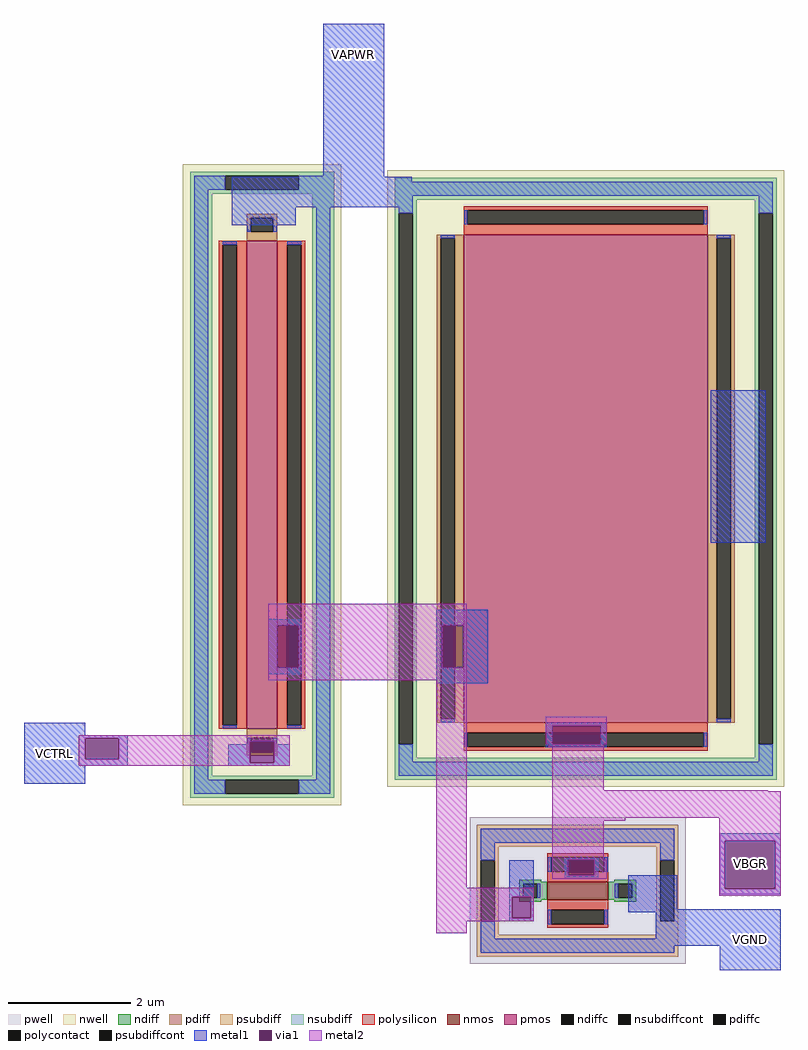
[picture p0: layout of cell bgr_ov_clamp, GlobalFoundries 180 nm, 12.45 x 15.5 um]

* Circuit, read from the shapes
.subckt bgr_ov_clamp VAPWR VBGR VCTRL VGND
XM1 VGND VBGR n1 VGND nfet_03v3 w=0.3u l=1u
XM2 VAPWR n1 VCTRL VAPWR pfet_03v3 w=0.5u l=8u
XM3 VAPWR VBGR n1 VAPWR pfet_03v3 w=8u l=4u
.ends

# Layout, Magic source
magic
tech gf180mcuD
magscale 1 10
<< metal1 >>
rect 600 700 800 1200
rect 300 600 890 700
rect 300 540 510 600
rect 1870 -500 2050 0
rect 420 -770 530 -750
rect 420 -910 450 -770
rect 520 -910 530 -770
rect 420 -930 530 -910
rect 970 -770 1140 -720
rect 970 -910 990 -770
rect 1060 -910 1140 -770
rect 970 -960 1140 -910
rect -380 -1130 -180 -1090
rect 1330 -1100 1530 -1090
rect -380 -1140 -40 -1130
rect -380 -1210 -180 -1140
rect -70 -1210 -40 -1140
rect -380 -1230 -40 -1210
rect 290 -1220 360 -1160
rect 1330 -1160 1350 -1100
rect 1510 -1160 1530 -1100
rect 440 -1220 490 -1160
rect 1330 -1170 1530 -1160
rect 290 -1230 490 -1220
rect -380 -1290 -180 -1230
rect 1899 -1476 2099 -1452
rect 1391 -1538 1501 -1532
rect 1210 -1660 1290 -1540
rect 1391 -1590 1403 -1538
rect 1489 -1590 1501 -1538
rect 1391 -1596 1501 -1590
rect 1210 -1730 1220 -1660
rect 1280 -1730 1290 -1660
rect 1600 -1700 1760 -1590
rect 1899 -1634 1916 -1476
rect 2082 -1634 2099 -1476
rect 1899 -1652 2099 -1634
rect 1600 -1710 2100 -1700
rect 1210 -1740 1290 -1730
rect 1690 -1820 2100 -1710
rect 1900 -1900 2100 -1820
<< via1 >>
rect 450 -910 520 -770
rect 990 -910 1060 -770
rect -180 -1210 -70 -1140
rect 360 -1220 440 -1150
rect 1350 -1160 1510 -1100
rect 1403 -1590 1489 -1538
rect 1220 -1730 1280 -1660
rect 1916 -1634 2082 -1476
<< metal2 >>
rect 420 -770 1070 -700
rect 420 -910 450 -770
rect 520 -910 990 -770
rect 1060 -910 1070 -770
rect 420 -950 1070 -910
rect -200 -1140 490 -1130
rect -200 -1210 -180 -1140
rect -70 -1150 490 -1140
rect -70 -1210 360 -1150
rect -200 -1220 360 -1210
rect 440 -1220 490 -1150
rect -200 -1230 490 -1220
rect 970 -1630 1070 -950
rect 1330 -1100 1530 -1070
rect 1330 -1160 1350 -1100
rect 1510 -1160 1530 -1100
rect 1340 -1170 1520 -1160
rect 1350 -1310 1520 -1170
rect 1350 -1311 1640 -1310
rect 1350 -1314 2057 -1311
rect 1350 -1401 2099 -1314
rect 1350 -1410 1590 -1401
rect 1350 -1538 1520 -1410
rect 1898 -1476 2099 -1401
rect 1350 -1590 1403 -1538
rect 1489 -1590 1530 -1538
rect 1350 -1600 1530 -1590
rect 970 -1660 1290 -1630
rect 1898 -1634 1916 -1476
rect 2082 -1634 2099 -1476
rect 1898 -1656 2099 -1634
rect 970 -1730 1220 -1660
rect 1280 -1730 1290 -1660
rect 970 -1740 1290 -1730
rect 970 -1780 1070 -1740
use pfet_03v3_GBSZ22  XMOVCLAMP
transform 0 1 400 -1 0 -310
box -1050 -260 1050 260
use nfet_03v3_7UJBU5  XMOVDET_N
transform 1 0 1434 0 1 -1640
box -354 -240 354 240
use pfet_03v3_G8Y8RW  XMOVDET_P
transform 1 0 1460 0 1 -290
box -650 -1010 650 1010
<< labels >>
flabel metal1 -380 -1290 -180 -1090 0 FreeSans 1280 0 0 0 VCTRL
port 2 nsew
flabel metal1 1899 -1652 2099 -1452 0 FreeSans 1280 0 0 0 VBGR
port 1 nsew
flabel metal1 1900 -1900 2100 -1700 0 FreeSans 1280 0 0 0 VGND
port 3 nsew
flabel metal1 600 1000 800 1200 0 FreeSans 1280 0 0 0 VAPWR
port 0 nsew
<< end >>

# cell pfet_03v3_GBSZ22: kit device pfet_03v3, w 0.5 l 8.0 m 1 nf 1 diffcov 100 polycov 100 guard 1 glc 1 grc 1 gtc 0 gbc 0 tbcov 100 rlcov 100 topc 1 botc 1 poverlap 0 doverlap 1 lmin 0.28 wmin 0.22 class mosfet full_metal 1 compatible {pfet_03v3 pfet_06v0} ad {int((nf+1)/2) * W/nf * 0.18u} as {int((nf+2)/2) * W/nf * 0.18u} pd {2*int((nf+1)/2) * (W/nf + 0.18u)} ps {2*int((nf+2)/2) * (W/nf + 0.18u)} nrd {0.18u / W} nrs {0.18u / W} sa 0 sb 0 sd 0

# cell nfet_03v3_7UJBU5: kit device nfet_03v3, w 0.3 l 1.0 m 1 nf 1 diffcov 100 polycov 100 guard 1 glc 1 grc 1 gtc 0 gbc 0 tbcov 100 rlcov 100 topc 1 botc 1 poverlap 0 doverlap 1 lmin 0.28 wmin 0.22 class mosfet full_metal 1 compatible {nfet_03v3 nfet_06v0 nfet_06v0_nvt} ad {int((nf+1)/2) * W/nf * 0.18u} as {int((nf+2)/2) * W/nf * 0.18u} pd {2*int((nf+1)/2) * (W/nf + 0.18u)} ps {2*int((nf+2)/2) * (W/nf + 0.18u)} nrd {0.18u / W} nrs {0.18u / W} sa 0 sb 0 sd 0

# cell pfet_03v3_G8Y8RW: kit device pfet_03v3, w 8.0 l 4.0 m 1 nf 1 diffcov 100 polycov 100 guard 1 glc 1 grc 1 gtc 0 gbc 0 tbcov 100 rlcov 100 topc 1 botc 1 poverlap 0 doverlap 1 lmin 0.28 wmin 0.22 class mosfet full_metal 1 compatible {pfet_03v3 pfet_06v0} ad {int((nf+1)/2) * W/nf * 0.18u} as {int((nf+2)/2) * W/nf * 0.18u} pd {2*int((nf+1)/2) * (W/nf + 0.18u)} ps {2*int((nf+2)/2) * (W/nf + 0.18u)} nrd {0.18u / W} nrs {0.18u / W} sa 0 sb 0 sd 0
